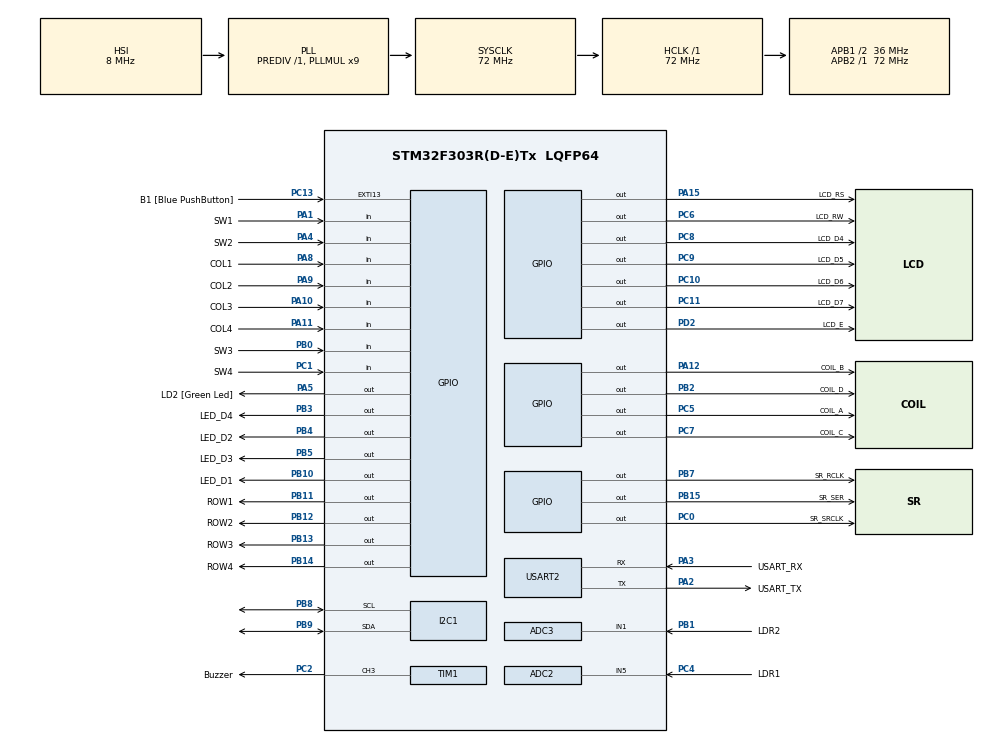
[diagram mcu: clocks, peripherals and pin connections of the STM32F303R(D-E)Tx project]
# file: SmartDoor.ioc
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ADC2.Channel-0\#ChannelRegularConversion=ADC_CHANNEL_5
ADC2.NbrOfConversionFlag=1
ADC2.Offset-0\#ChannelRegularConversion=0
ADC2.OffsetNumber-0\#ChannelRegularConversion=ADC_OFFSET_NONE
ADC2.Rank-0\#ChannelRegularConversion=1
ADC2.SamplingTime-0\#ChannelRegularConversion=ADC_SAMPLETIME_61CYCLES_5
ADC2.SamplingTimeOPAMP-0\#ChannelRegularConversion=ADC_SAMPLETIME_61CYCLES_5
ADC3.Channel-0\#ChannelRegularConversion=ADC_CHANNEL_1
ADC3.NbrOfConversionFlag=1
ADC3.Offset-0\#ChannelRegularConversion=0
ADC3.OffsetNumber-0\#ChannelRegularConversion=ADC_OFFSET_NONE
ADC3.Rank-0\#ChannelRegularConversion=1
ADC3.SamplingTime-0\#ChannelRegularConversion=ADC_SAMPLETIME_61CYCLES_5
ADC3.SamplingTimeOPAMP-0\#ChannelRegularConversion=ADC_SAMPLETIME_61CYCLES_5
ADC3.master=1
I2C1.Timing=0x00201D2B
Mcu.Family=STM32F3
Mcu.Name=STM32F303R(D-E)Tx
Mcu.Package=LQFP64
NVIC.PriorityGroup=NVIC_PRIORITYGROUP_0
NVIC.TIM2_IRQn=true\:0\:0\:false\:false\:true\:true\:true\:true
PA1.GPIO_Label=SW1
PA1.Signal=GPIO_Input
PA10.GPIO_Label=COL3
PA10.GPIO_PuPd=GPIO_PULLUP
PA10.Signal=GPIO_Input
PA11.GPIO_Label=COL4
PA11.GPIO_PuPd=GPIO_PULLUP
PA11.Signal=GPIO_Input
PA12.GPIO_Label=COIL_B
PA12.Signal=GPIO_Output
PA13.GPIO_Label=TMS
PA13.Mode=Serial_Wire
PA13.Signal=SYS_JTMS-SWDIO
PA14.GPIO_Label=TCK
PA14.Mode=Serial_Wire
PA14.Signal=SYS_JTCK-SWCLK
PA15.GPIO_Label=LCD_RS
PA15.Signal=GPIO_Output
PA2.GPIO_Label=USART_TX
PA2.GPIO_Mode=GPIO_MODE_AF_PP
PA2.GPIO_PuPd=GPIO_NOPULL
PA2.GPIO_Speed=GPIO_SPEED_FREQ_LOW
PA2.Mode=Asynchronous
PA2.Signal=USART2_TX
PA3.GPIO_Label=USART_RX
PA3.GPIO_Mode=GPIO_MODE_AF_PP
PA3.GPIO_PuPd=GPIO_NOPULL
PA3.GPIO_Speed=GPIO_SPEED_FREQ_LOW
PA3.Mode=Asynchronous
PA3.Signal=USART2_RX
PA4.GPIO_Label=SW2
PA4.Signal=GPIO_Input
PA5.GPIO_Label=LD2 [Green Led]
PA5.GPIO_Mode=GPIO_MODE_OUTPUT_PP
PA5.GPIO_PuPd=GPIO_NOPULL
PA5.GPIO_Speed=GPIO_SPEED_FREQ_LOW
PA5.Signal=GPIO_Output
PA8.GPIO_Label=COL1
PA8.GPIO_PuPd=GPIO_PULLUP
PA8.Signal=GPIO_Input
PA9.GPIO_Label=COL2
PA9.GPIO_PuPd=GPIO_PULLUP
PA9.Signal=GPIO_Input
PB0.GPIO_Label=SW3
PB0.Signal=GPIO_Input
PB1.GPIO_Label=LDR2
PB1.Mode=IN1-Single-Ended
PB1.Signal=ADC3_IN1
PB10.GPIO_Label=LED_D1
PB10.Signal=GPIO_Output
PB11.GPIO_Label=ROW1
PB11.Signal=GPIO_Output
PB12.GPIO_Label=ROW2
PB12.Signal=GPIO_Output
PB13.GPIO_Label=ROW3
PB13.Signal=GPIO_Output
PB14.GPIO_Label=ROW4
PB14.Signal=GPIO_Output
PB15.GPIO_Label=SR_SER
PB15.Signal=GPIO_Output
PB2.GPIO_Label=COIL_D
PB2.Signal=GPIO_Output
PB3.GPIO_Label=LED_D4
PB3.Signal=GPIO_Output
PB4.GPIO_Label=LED_D2
PB4.Signal=GPIO_Output
PB5.GPIO_Label=LED_D3
PB5.Signal=GPIO_Output
PB7.GPIO_Label=SR_RCLK
PB7.Signal=GPIO_Output
PB8.GPIO_Pu=GPIO_PULLUP
PB8.Mode=I2C
PB8.Signal=I2C1_SCL
PB9.GPIO_Pu=GPIO_PULLUP
PB9.Mode=I2C
PB9.Signal=I2C1_SDA
PC0.GPIO_Label=SR_SRCLK
PC0.Signal=GPIO_Output
PC1.GPIO_Label=SW4
PC1.Signal=GPIO_Input
PC10.GPIO_Label=LCD_D6
PC10.Signal=GPIO_Output
PC11.GPIO_Label=LCD_D7
PC11.Signal=GPIO_Output
PC13.GPIO_Label=B1 [Blue PushButton]
PC13.GPIO_ModeDefaultEXTI=GPIO_MODE_IT_FALLING
PC13.Signal=GPXTI13
PC14-OSC32_IN.Mode=LSE-External-Oscillator
PC14-OSC32_IN.Signal=RCC_OSC32_IN
PC15-OSC32_OUT.Mode=LSE-External-Oscillator
PC15-OSC32_OUT.Signal=RCC_OSC32_OUT
PC2.GPIO_Label=Buzzer
PC2.Signal=S_TIM1_CH3
PC4.GPIO_Label=LDR1
PC4.Mode=IN5-Single-Ended
PC4.Signal=ADC2_IN5
PC5.GPIO_Label=COIL_A
PC5.Signal=GPIO_Output
PC6.GPIO_Label=LCD_RW
PC6.Signal=GPIO_Output
PC7.GPIO_Label=COIL_C
PC7.Signal=GPIO_Output
PC8.GPIO_Label=LCD_D4
PC8.Signal=GPIO_Output
PC9.GPIO_Label=LCD_D5
PC9.Signal=GPIO_Output
PD2.GPIO_Label=LCD_E
PD2.Signal=GPIO_Output
PF0-OSC_IN.Mode=HSE-External-Clock-Source
PF0-OSC_IN.Signal=RCC_OSC_IN
PF1-OSC_OUT.Signal=RCC_OSC_OUT
ProjectManager.HeapSize=0x200
ProjectManager.StackSize=0x400
ProjectManager.TargetToolchain=STM32CubeIDE
RCC.AHBFreq_Value=72000000
RCC.APB1CLKDivider=RCC_HCLK_DIV2
RCC.APB1Freq_Value=36000000
RCC.APB1TimFreq_Value=72000000
RCC.APB2Freq_Value=72000000
RCC.APB2TimFreq_Value=72000000
RCC.CortexFreq_Value=72000000
RCC.HCLKFreq_Value=72000000
RCC.HSE_VALUE=8000000
RCC.HSI_VALUE=8000000
RCC.PLLM=8
RCC.PLLMUL=RCC_PLL_MUL9
RCC.PLLN=336
RCC.PLLP=RCC_PLLP_DIV4
RCC.PLLQ=7
RCC.RCC_PLLsource_Clock_Source_FROM_HSE=RCC_HSE_PREDIV_DIV2
RCC.SYSCLKFreq_VALUE=72000000
RCC.SYSCLKSourceVirtual=RCC_SYSCLKSOURCE_PLLCLK
RCC.USBFreq_Value=72000000
RTC.AsynchPrediv=125
RTC.SynchPrediv=304
SH.S_TIM1_CH3.0=TIM1_CH3,PWM Generation3 CH3
TIM1.Channel-PWM\ Generation3\ CH3=TIM_CHANNEL_3
TIM1.Period=399
TIM1.Prescaler=71
TIM2.Period=999
TIM2.Prescaler=71
USART2.VirtualMode-Asynchronous=VM_ASYNC
VP_RTC_VS_RTC_Activate.Mode=RTC_Enabled
VP_RTC_VS_RTC_Calendar.Mode=RTC_Calendar
VP_TIM1_VS_ClockSourceINT.Mode=Internal
VP_TIM2_VS_ClockSourceINT.Mode=Internal
board=NUCLEO-F303RE

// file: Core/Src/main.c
/* USER CODE BEGIN Header */
/**
  ******************************************************************************
  * @file           : main.c
  * @brief          : Main program body
  ******************************************************************************
  * @attention
  *
  * Copyright (c) 2026 STMicroelectronics.
  * All rights reserved.
  *
  * This software is licensed under terms that can be found in the LICENSE file
  * in the root directory of this software component.
  * If no LICENSE file comes with this software, it is provided AS-IS.
  *
  ******************************************************************************
  */
/* USER CODE END Header */
#include "main.h"

/* USER CODE BEGIN Includes */
#include <stdio.h>
#include <string.h>
#include "fsm.h"
#include "input.h"
#include "keypad.h"
#include "output.h"
#include "lcd.h"
#include "ldr.h"
#include "scheduler.h"

/* USER CODE END Includes */

/* USER CODE BEGIN PD */

#define PN532_I2C_ADDRESS (0x24 << 1)

#define PN532_PREAMBLE 0x00
#define PN532_STARTCODE1 0x00
#define PN532_STARTCODE2 0xFF
#define PN532_HOSTTOPN532 0xD4    // Host -> PN532 direction identifier
#define PN532_PN532TOHOST 0xD5    // PN532 -> Host orientation identifier

#define PN532_CMD_SAMCONFIG 0x14
#define PN532_CMD_INLISTPASSIVE 0x4A

#define PN532_READY 0x01

//  timeout and Retry parameters
#define PN532_I2C_TIMEOUT 100     // A single I2C transmission timeout
#define PN532_READY_RETRIES 30      // The max num of polling times for the ready state
#define PN532_READY_INTERVAL 10      // The interval between each polling

/* USER CODE END PD */

ADC_HandleTypeDef hadc2;
ADC_HandleTypeDef hadc3;

I2C_HandleTypeDef hi2c1;

RTC_HandleTypeDef hrtc;

TIM_HandleTypeDef htim1;
TIM_HandleTypeDef htim2;

UART_HandleTypeDef huart2;

void SystemClock_Config(void);
static void MX_GPIO_Init(void);
static void MX_USART2_UART_Init(void);
static void MX_ADC2_Init(void);
static void MX_ADC3_Init(void);
static void MX_I2C1_Init(void);
static void MX_TIM2_Init(void);
static void MX_RTC_Init(void);
static void MX_TIM1_Init(void);
/* USER CODE BEGIN PFP */

void     PN532_Wakeup(void);
uint8_t  PN532_SAMConfig(void);
int      PN532_Get_UID(uint8_t *uid, uint8_t *uidLen);

static uint8_t PN532_ComputeDataChecksum(const uint8_t *data, uint8_t len);
static HAL_StatusTypeDef PN532_SendCommand(const uint8_t *cmd, uint8_t cmdLen);
static HAL_StatusTypeDef PN532_WaitReady(uint32_t retries);
static HAL_StatusTypeDef PN532_ReadResponse(uint8_t *buf, uint16_t len);

/* USER CODE END PFP */

/* USER CODE BEGIN 0 */

#ifdef __GNUC__

// Redirect printf to USART2 for the ST-Link serial port.
int _write(int file, char *ptr, int len)
{
    // printf does not use file, but _write must keep this parameter.
    (void)file;
    HAL_UART_Transmit(&huart2, (uint8_t *)ptr, len, 0xFFFF);
    return len;
}
#endif

// Send the leading byte physically to wake up PN532
void PN532_Wakeup(void)
{
    uint8_t wake[] = { 0x55, 0x55, 0x00, 0x00, 0x00 };
    HAL_I2C_Master_Transmit(&hi2c1, PN532_I2C_ADDRESS, wake, sizeof(wake), PN532_I2C_TIMEOUT);
    HAL_Delay(10);
}

// Calculate DCS
static uint8_t PN532_ComputeDataChecksum(const uint8_t *data, uint8_t len)
{
    uint8_t sum = 0;
    for (uint8_t i = 0; i < len; i++)
    {
        sum = (uint8_t)(sum + data[i]);
    }
    return (uint8_t)(~sum + 1);
}

// Send an instruction in the PN532 ordinary information frame format
static HAL_StatusTypeDef PN532_SendCommand(const uint8_t *cmd, uint8_t cmdLen)
{
    uint8_t frame[32];
    uint8_t data[32];
    uint8_t len = (uint8_t)(cmdLen + 1);
    uint8_t idx = 0;

    if (cmdLen + 8 > (uint8_t)sizeof(frame))
    {
        return HAL_ERROR;
    }

    data[0] = PN532_HOSTTOPN532;
    memcpy(&data[1], cmd, cmdLen);

    frame[idx++] = PN532_PREAMBLE;
    frame[idx++] = PN532_STARTCODE1;
    frame[idx++] = PN532_STARTCODE2;
    frame[idx++] = len;
    frame[idx++] = (uint8_t)(~len + 1);

    memcpy(&frame[idx], data, len);
    idx = (uint8_t)(idx + len);

    frame[idx++] = PN532_ComputeDataChecksum(data, len);
    frame[idx++] = PN532_PREAMBLE;

    return HAL_I2C_Master_Transmit(&hi2c1, PN532_I2C_ADDRESS, frame, idx, PN532_I2C_TIMEOUT);
}

// Poll the ready status word of PN532
static HAL_StatusTypeDef PN532_WaitReady(uint32_t retries)
{
    uint8_t ready = 0;
    for (uint32_t i = 0; i < retries; i++)
    {
        if (HAL_I2C_Master_Receive(&hi2c1, PN532_I2C_ADDRESS, &ready, 1, PN532_I2C_TIMEOUT) == HAL_OK)
        {
            if (ready == PN532_READY)
            {
                return HAL_OK;
            }
        }
        HAL_Delay(PN532_READY_INTERVAL);
    }
    return HAL_TIMEOUT;
}

// Read response (including ready state)
static HAL_StatusTypeDef PN532_ReadResponse(uint8_t *buf, uint16_t len)
{
    return HAL_I2C_Master_Receive(&hi2c1, PN532_I2C_ADDRESS, buf, len, PN532_I2C_TIMEOUT);
}

// Configure the SAM of PN532 to the normal card reading mode
uint8_t PN532_SAMConfig(void)
{
    uint8_t cmd[] = { PN532_CMD_SAMCONFIG, 0x01, 0x14, 0x01 };
    uint8_t buf[16] = { 0 };

    if (PN532_SendCommand(cmd, sizeof(cmd)) != HAL_OK)
    {
        return 0;
    }

    if (PN532_WaitReady(PN532_READY_RETRIES) != HAL_OK)
    {
        return 0;
    }

    if (PN532_ReadResponse(buf, 7) != HAL_OK)
    {
        return 0;
    }

    if (PN532_WaitReady(PN532_READY_RETRIES) == HAL_OK)
    {
        PN532_ReadResponse(buf, 9);
    }

    return 1;
}

// Non-blocking card search to obtain the target UID
int PN532_Get_UID(uint8_t *uid, uint8_t *uidLen)
{
    uint8_t cmd[] = { PN532_CMD_INLISTPASSIVE, 0x01, 0x00 };
    uint8_t buf[32] = { 0 };
    uint8_t len;

    if (PN532_SendCommand(cmd, sizeof(cmd)) != HAL_OK)
    {
        return 0;
    }

    if (PN532_WaitReady(PN532_READY_RETRIES) != HAL_OK)
    {
        return 0;
    }
    PN532_ReadResponse(buf, 7);

    if (PN532_WaitReady(PN532_READY_RETRIES) != HAL_OK)
    {
        return 0;
    }

    if (PN532_ReadResponse(buf, sizeof(buf)) != HAL_OK)
    {
        return 0;
    }

    if (buf[0] != PN532_READY || buf[1] != 0x00 || buf[2] != 0x00 || buf[3] != 0xFF)
    {
        return 0;
    }

    if (buf[6] != PN532_PN532TOHOST || buf[7] != (PN532_CMD_INLISTPASSIVE + 1))
    {
        return 0;
    }

    if (buf[8] == 0)
    {
        return 0;
    }

    len = buf[13];
    if (len == 0 || len > 7)
    {
        return 0;
    }

    memcpy(uid, &buf[14], len);
    *uidLen = len;

    return 1;
}

/* USER CODE END 0 */

int main(void)
{

  /* MCU Configuration--------------------------------------------------------*/

  /* Reset of all peripherals, Initializes the Flash interface and the Systick. */
  HAL_Init();

  /* Configure the system clock */
  SystemClock_Config();

  /* Initialize all configured peripherals */
  MX_GPIO_Init();
  MX_USART2_UART_Init();
  MX_ADC2_Init();
  MX_ADC3_Init();
  MX_I2C1_Init();
  MX_TIM2_Init();
  MX_RTC_Init();
  MX_TIM1_Init();
  /* USER CODE BEGIN 2 */

  // Start the 1ms timer
  HAL_TIM_Base_Start_IT(&htim2);

  // Start the buzzer PWM channel
    HAL_TIM_PWM_Start(&htim1, TIM_CHANNEL_3);

  printf("\r\n=== Smart Door Init ===\r\n");

  /* Wake up and configure the PN532 module */
  PN532_Wakeup();
  if (PN532_SAMConfig()) {
      printf(" PN532 NFC Module Initialised Successfully.\r\n");
  } else {
      printf("WARN: PN532 Configuration Failed.\r\n");
  }

  LCD_Init();
  sensors_init();
  ldr_init();
  fsm_init();

  /* USER CODE END 2 */

  /* Infinite loop */
  /* USER CODE BEGIN WHILE */
  while (1)
  {
	  // Refresh the LDR state before timers make arbitration or closing decisions.
	  Event_t ldr_event = ldr_poll();

	  if (ldr_event != EVT_NONE) {
		  fsm_dispatch(ldr_event);
	  }

	  // Constantly refresh the non-blocking timers
	  fsm_poll();

	  // call FSM
	  /* Poll NFC only while waiting for a card. */
	  DoorState_t door_state = fsm_get_state();

	  /* Only ask the scheduler while the FSM is in a state that will act on it.
	   * or  ADMIN/PASSAGE/CLOSING won't handle the schedule event( start/end edge will be missed)
	   * START is only polled in IDLE,
	   * END only in UNLOCKED. */
	  if (door_state == IDLE) {
		  if (scheduler_check_start()) {
			  fsm_dispatch(EVT_SCHEDULE_START);
		  }
	  }
	  else if (door_state == UNLOCKED) {
		  if (scheduler_check_end()) {
			  fsm_dispatch(EVT_SCHEDULE_END);
		  }
	  }

	  // Keep the clock on the idle/unlocked screen up to date. Only redraw when the minute changes
	  static uint8_t last_shown_minute = 0xFF;
	  if (door_state == IDLE || door_state == UNLOCKED) {
		  uint8_t h, m;
		  scheduler_get_time(&h, &m);
		  if (m != last_shown_minute) {
			  char idle_line2[20];
			  if (door_state == IDLE) {
				  snprintf(idle_line2, sizeof(idle_line2), "Scan card  %02u:%02u", h, m);
				  lcd_print("Smart Door", idle_line2);
			  } else {
				  snprintf(idle_line2, sizeof(idle_line2), "Door open  %02u:%02u", h, m);
				  lcd_print("Event mode", idle_line2);
			  }
			  last_shown_minute = m;
		  }
	  } else {
		  // force a redraw when we come back to IDLE
		  last_shown_minute = 0xFF;
	  }

	  char key = keypad_poll();
	  if (key != 0) {
		  fsm_set_key(key);
		  fsm_dispatch(EVT_KEYPAD_KEY);
	  }

	  /* Even in the unlock state,
	   *  nfc poll should be conducted to handle the situation
	   *  where the administrator swipes the card for configuration
	   */
    DoorState_t nfc_state = fsm_get_state();

    if (nfc_state == IDLE || nfc_state == UNLOCKED || nfc_state == ALERT) {
    	CardType_t card = nfc_poll_card();
	    if (card != CARD_NONE) {
			  //First save the card type, then send the card-scanned event to the state machine.
			  fsm_set_card_type(card);
			  fsm_dispatch(EVT_CARD_SCANNED);
		  }
	  }

    /* USER CODE END WHILE */

  }
}

void SystemClock_Config(void)
{
  RCC_OscInitTypeDef RCC_OscInitStruct = {0};
  RCC_ClkInitTypeDef RCC_ClkInitStruct = {0};
  RCC_PeriphCLKInitTypeDef PeriphClkInit = {0};

  /** Initializes the RCC Oscillators according to the specified parameters
  * in the RCC_OscInitTypeDef structure.
  */
  RCC_OscInitStruct.OscillatorType = RCC_OSCILLATORTYPE_HSI|RCC_OSCILLATORTYPE_LSI;
  RCC_OscInitStruct.HSIState = RCC_HSI_ON;
  RCC_OscInitStruct.HSICalibrationValue = RCC_HSICALIBRATION_DEFAULT;
  RCC_OscInitStruct.LSIState = RCC_LSI_ON;
  RCC_OscInitStruct.PLL.PLLState = RCC_PLL_ON;
  RCC_OscInitStruct.PLL.PLLSource = RCC_PLLSOURCE_HSI;
  RCC_OscInitStruct.PLL.PLLMUL = RCC_PLL_MUL9;
  RCC_OscInitStruct.PLL.PREDIV = RCC_PREDIV_DIV1;
  if (HAL_RCC_OscConfig(&RCC_OscInitStruct) != HAL_OK)
  {
    Error_Handler();
  }

  /** Initializes the CPU, AHB and APB buses clocks
  */
  RCC_ClkInitStruct.ClockType = RCC_CLOCKTYPE_HCLK|RCC_CLOCKTYPE_SYSCLK
                              |RCC_CLOCKTYPE_PCLK1|RCC_CLOCKTYPE_PCLK2;
  RCC_ClkInitStruct.SYSCLKSource = RCC_SYSCLKSOURCE_PLLCLK;
  RCC_ClkInitStruct.AHBCLKDivider = RCC_SYSCLK_DIV1;
  RCC_ClkInitStruct.APB1CLKDivider = RCC_HCLK_DIV2;
  RCC_ClkInitStruct.APB2CLKDivider = RCC_HCLK_DIV1;

  if (HAL_RCC_ClockConfig(&RCC_ClkInitStruct, FLASH_LATENCY_2) != HAL_OK)
  {
    Error_Handler();
  }
  PeriphClkInit.PeriphClockSelection = RCC_PERIPHCLK_USART2|RCC_PERIPHCLK_I2C1
                              |RCC_PERIPHCLK_RTC|RCC_PERIPHCLK_TIM1
                              |RCC_PERIPHCLK_ADC12|RCC_PERIPHCLK_ADC34
                              |RCC_PERIPHCLK_TIM2;
  PeriphClkInit.Usart2ClockSelection = RCC_USART2CLKSOURCE_PCLK1;
  PeriphClkInit.Adc12ClockSelection = RCC_ADC12PLLCLK_DIV1;
  PeriphClkInit.Adc34ClockSelection = RCC_ADC34PLLCLK_DIV1;
  PeriphClkInit.I2c1ClockSelection = RCC_I2C1CLKSOURCE_HSI;
  PeriphClkInit.RTCClockSelection = RCC_RTCCLKSOURCE_LSI;
  PeriphClkInit.Tim1ClockSelection = RCC_TIM1CLK_HCLK;
  PeriphClkInit.Tim2ClockSelection = RCC_TIM2CLK_HCLK;
  if (HAL_RCCEx_PeriphCLKConfig(&PeriphClkInit) != HAL_OK)
  {
    Error_Handler();
  }
}

static void MX_ADC2_Init(void)
{

  ADC_ChannelConfTypeDef sConfig = {0};

  /** Common config
  */
  hadc2.Instance = ADC2;
  hadc2.Init.ClockPrescaler = ADC_CLOCK_ASYNC_DIV1;
  hadc2.Init.Resolution = ADC_RESOLUTION_12B;
  hadc2.Init.ScanConvMode = ADC_SCAN_DISABLE;
  hadc2.Init.ContinuousConvMode = DISABLE;
  hadc2.Init.DiscontinuousConvMode = DISABLE;
  hadc2.Init.ExternalTrigConvEdge = ADC_EXTERNALTRIGCONVEDGE_NONE;
  hadc2.Init.ExternalTrigConv = ADC_SOFTWARE_START;
  hadc2.Init.DataAlign = ADC_DATAALIGN_RIGHT;
  hadc2.Init.NbrOfConversion = 1;
  hadc2.Init.DMAContinuousRequests = DISABLE;
  hadc2.Init.EOCSelection = ADC_EOC_SINGLE_CONV;
  hadc2.Init.LowPowerAutoWait = DISABLE;
  hadc2.Init.Overrun = ADC_OVR_DATA_OVERWRITTEN;
  if (HAL_ADC_Init(&hadc2) != HAL_OK)
  {
    Error_Handler();
  }

  /** Configure Regular Channel
  */
  sConfig.Channel = ADC_CHANNEL_5;
  sConfig.Rank = ADC_REGULAR_RANK_1;
  sConfig.SingleDiff = ADC_SINGLE_ENDED;
  sConfig.SamplingTime = ADC_SAMPLETIME_61CYCLES_5;
  sConfig.OffsetNumber = ADC_OFFSET_NONE;
  sConfig.Offset = 0;
  if (HAL_ADC_ConfigChannel(&hadc2, &sConfig) != HAL_OK)
  {
    Error_Handler();
  }

}

static void MX_ADC3_Init(void)
{

  ADC_MultiModeTypeDef multimode = {0};
  ADC_ChannelConfTypeDef sConfig = {0};

  /** Common config
  */
  hadc3.Instance = ADC3;
  hadc3.Init.ClockPrescaler = ADC_CLOCK_ASYNC_DIV1;
  hadc3.Init.Resolution = ADC_RESOLUTION_12B;
  hadc3.Init.ScanConvMode = ADC_SCAN_DISABLE;
  hadc3.Init.ContinuousConvMode = DISABLE;
  hadc3.Init.DiscontinuousConvMode = DISABLE;
  hadc3.Init.ExternalTrigConvEdge = ADC_EXTERNALTRIGCONVEDGE_NONE;
  hadc3.Init.ExternalTrigConv = ADC_SOFTWARE_START;
  hadc3.Init.DataAlign = ADC_DATAALIGN_RIGHT;
  hadc3.Init.NbrOfConversion = 1;
  hadc3.Init.DMAContinuousRequests = DISABLE;
  hadc3.Init.EOCSelection = ADC_EOC_SINGLE_CONV;
  hadc3.Init.LowPowerAutoWait = DISABLE;
  hadc3.Init.Overrun = ADC_OVR_DATA_OVERWRITTEN;
  if (HAL_ADC_Init(&hadc3) != HAL_OK)
  {
    Error_Handler();
  }

  /** Configure the ADC multi-mode
  */
  multimode.Mode = ADC_MODE_INDEPENDENT;
  if (HAL_ADCEx_MultiModeConfigChannel(&hadc3, &multimode) != HAL_OK)
  {
    Error_Handler();
  }

  /** Configure Regular Channel
  */
  sConfig.Channel = ADC_CHANNEL_1;
  sConfig.Rank = ADC_REGULAR_RANK_1;
  sConfig.SingleDiff = ADC_SINGLE_ENDED;
  sConfig.SamplingTime = ADC_SAMPLETIME_61CYCLES_5;
  sConfig.OffsetNumber = ADC_OFFSET_NONE;
  sConfig.Offset = 0;
  if (HAL_ADC_ConfigChannel(&hadc3, &sConfig) != HAL_OK)
  {
    Error_Handler();
  }

}

static void MX_I2C1_Init(void)
{

  hi2c1.Instance = I2C1;
  hi2c1.Init.Timing = 0x00201D2B;
  hi2c1.Init.OwnAddress1 = 0;
  hi2c1.Init.AddressingMode = I2C_ADDRESSINGMODE_7BIT;
  hi2c1.Init.DualAddressMode = I2C_DUALADDRESS_DISABLE;
  hi2c1.Init.OwnAddress2 = 0;
  hi2c1.Init.OwnAddress2Masks = I2C_OA2_NOMASK;
  hi2c1.Init.GeneralCallMode = I2C_GENERALCALL_DISABLE;
  hi2c1.Init.NoStretchMode = I2C_NOSTRETCH_DISABLE;
  if (HAL_I2C_Init(&hi2c1) != HAL_OK)
  {
    Error_Handler();
  }

  /** Configure Analogue filter
  */
  if (HAL_I2CEx_ConfigAnalogFilter(&hi2c1, I2C_ANALOGFILTER_ENABLE) != HAL_OK)
  {
    Error_Handler();
  }

  /** Configure Digital filter
  */
  if (HAL_I2CEx_ConfigDigitalFilter(&hi2c1, 0) != HAL_OK)
  {
    Error_Handler();
  }

}

static void MX_RTC_Init(void)
{

  RTC_TimeTypeDef sTime = {0};
  RTC_DateTypeDef sDate = {0};

  /** Initialize RTC Only
  */
  hrtc.Instance = RTC;
  hrtc.Init.HourFormat = RTC_HOURFORMAT_24;
  hrtc.Init.AsynchPrediv = 125;
  hrtc.Init.SynchPrediv = 304;
  hrtc.Init.OutPut = RTC_OUTPUT_DISABLE;
  hrtc.Init.OutPutPolarity = RTC_OUTPUT_POLARITY_HIGH;
  hrtc.Init.OutPutType = RTC_OUTPUT_TYPE_OPENDRAIN;
  if (HAL_RTC_Init(&hrtc) != HAL_OK)
  {
    Error_Handler();
  }

  /** Initialize RTC and set the Time and Date
  */
  sTime.Hours = 0x0;
  sTime.Minutes = 0x0;
  sTime.Seconds = 0x0;
  sTime.DayLightSaving = RTC_DAYLIGHTSAVING_NONE;
  sTime.StoreOperation = RTC_STOREOPERATION_RESET;
  if (HAL_RTC_SetTime(&hrtc, &sTime, RTC_FORMAT_BCD) != HAL_OK)
  {
    Error_Handler();
  }
  sDate.WeekDay = RTC_WEEKDAY_MONDAY;
  sDate.Month = RTC_MONTH_JANUARY;
  sDate.Date = 0x1;
  sDate.Year = 0x0;

  if (HAL_RTC_SetDate(&hrtc, &sDate, RTC_FORMAT_BCD) != HAL_OK)
  {
    Error_Handler();
  }

}

static void MX_TIM1_Init(void)
{

  TIM_ClockConfigTypeDef sClockSourceConfig = {0};
  TIM_MasterConfigTypeDef sMasterConfig = {0};
  TIM_OC_InitTypeDef sConfigOC = {0};
  TIM_BreakDeadTimeConfigTypeDef sBreakDeadTimeConfig = {0};

  htim1.Instance = TIM1;
  htim1.Init.Prescaler = 71;
  htim1.Init.CounterMode = TIM_COUNTERMODE_UP;
  htim1.Init.Period = 399;
  htim1.Init.ClockDivision = TIM_CLOCKDIVISION_DIV1;
  htim1.Init.RepetitionCounter = 0;
  htim1.Init.AutoReloadPreload = TIM_AUTORELOAD_PRELOAD_DISABLE;
  if (HAL_TIM_Base_Init(&htim1) != HAL_OK)
  {
    Error_Handler();
  }
  sClockSourceConfig.ClockSource = TIM_CLOCKSOURCE_INTERNAL;
  if (HAL_TIM_ConfigClockSource(&htim1, &sClockSourceConfig) != HAL_OK)
  {
    Error_Handler();
  }
  if (HAL_TIM_PWM_Init(&htim1) != HAL_OK)
  {
    Error_Handler();
  }
  sMasterConfig.MasterOutputTrigger = TIM_TRGO_RESET;
  sMasterConfig.MasterOutputTrigger2 = TIM_TRGO2_RESET;
  sMasterConfig.MasterSlaveMode = TIM_MASTERSLAVEMODE_DISABLE;
  if (HAL_TIMEx_MasterConfigSynchronization(&htim1, &sMasterConfig) != HAL_OK)
  {
    Error_Handler();
  }
  sConfigOC.OCMode = TIM_OCMODE_PWM1;
  sConfigOC.Pulse = 0;
  sConfigOC.OCPolarity = TIM_OCPOLARITY_HIGH;
  sConfigOC.OCNPolarity = TIM_OCNPOLARITY_HIGH;
  sConfigOC.OCFastMode = TIM_OCFAST_DISABLE;
  sConfigOC.OCIdleState = TIM_OCIDLESTATE_RESET;
  sConfigOC.OCNIdleState = TIM_OCNIDLESTATE_RESET;
  if (HAL_TIM_PWM_ConfigChannel(&htim1, &sConfigOC, TIM_CHANNEL_3) != HAL_OK)
  {
    Error_Handler();
  }
  sBreakDeadTimeConfig.OffStateRunMode = TIM_OSSR_DISABLE;
  sBreakDeadTimeConfig.OffStateIDLEMode = TIM_OSSI_DISABLE;
  sBreakDeadTimeConfig.LockLevel = TIM_LOCKLEVEL_OFF;
  sBreakDeadTimeConfig.DeadTime = 0;
  sBreakDeadTimeConfig.BreakState = TIM_BREAK_DISABLE;
  sBreakDeadTimeConfig.BreakPolarity = TIM_BREAKPOLARITY_HIGH;
  sBreakDeadTimeConfig.BreakFilter = 0;
  sBreakDeadTimeConfig.Break2State = TIM_BREAK2_DISABLE;
  sBreakDeadTimeConfig.Break2Polarity = TIM_BREAK2POLARITY_HIGH;
  sBreakDeadTimeConfig.Break2Filter = 0;
  sBreakDeadTimeConfig.AutomaticOutput = TIM_AUTOMATICOUTPUT_DISABLE;
  if (HAL_TIMEx_ConfigBreakDeadTime(&htim1, &sBreakDeadTimeConfig) != HAL_OK)
  {
    Error_Handler();
  }
  HAL_TIM_MspPostInit(&htim1);

}

static void MX_TIM2_Init(void)
{

  TIM_ClockConfigTypeDef sClockSourceConfig = {0};
  TIM_MasterConfigTypeDef sMasterConfig = {0};

  htim2.Instance = TIM2;
  htim2.Init.Prescaler = 71;
  htim2.Init.CounterMode = TIM_COUNTERMODE_UP;
  htim2.Init.Period = 999;
  htim2.Init.ClockDivision = TIM_CLOCKDIVISION_DIV1;
  htim2.Init.AutoReloadPreload = TIM_AUTORELOAD_PRELOAD_DISABLE;
  if (HAL_TIM_Base_Init(&htim2) != HAL_OK)
  {
    Error_Handler();
  }
  sClockSourceConfig.ClockSource = TIM_CLOCKSOURCE_INTERNAL;
  if (HAL_TIM_ConfigClockSource(&htim2, &sClockSourceConfig) != HAL_OK)
  {
    Error_Handler();
  }
  sMasterConfig.MasterOutputTrigger = TIM_TRGO_RESET;
  sMasterConfig.MasterSlaveMode = TIM_MASTERSLAVEMODE_DISABLE;
  if (HAL_TIMEx_MasterConfigSynchronization(&htim2, &sMasterConfig) != HAL_OK)
  {
    Error_Handler();
  }

}

static void MX_USART2_UART_Init(void)
{

  huart2.Instance = USART2;
  huart2.Init.BaudRate = 38400;
  huart2.Init.WordLength = UART_WORDLENGTH_8B;
  huart2.Init.StopBits = UART_STOPBITS_1;
  huart2.Init.Parity = UART_PARITY_NONE;
  huart2.Init.Mode = UART_MODE_TX_RX;
  huart2.Init.HwFlowCtl = UART_HWCONTROL_NONE;
  huart2.Init.OverSampling = UART_OVERSAMPLING_16;
  huart2.Init.OneBitSampling = UART_ONE_BIT_SAMPLE_DISABLE;
  huart2.AdvancedInit.AdvFeatureInit = UART_ADVFEATURE_NO_INIT;
  if (HAL_UART_Init(&huart2) != HAL_OK)
  {
    Error_Handler();
  }

}

static void MX_GPIO_Init(void)
{
  GPIO_InitTypeDef GPIO_InitStruct = {0};

  /* GPIO Ports Clock Enable */
  __HAL_RCC_GPIOC_CLK_ENABLE();
  __HAL_RCC_GPIOF_CLK_ENABLE();
  __HAL_RCC_GPIOA_CLK_ENABLE();
  __HAL_RCC_GPIOB_CLK_ENABLE();
  __HAL_RCC_GPIOD_CLK_ENABLE();

  /*Configure GPIO pin Output Level */
  HAL_GPIO_WritePin(GPIOC, SR_SRCLK_Pin|COIL_A_Pin|LCD_RW_Pin|COIL_C_Pin
                          |LCD_D4_Pin|LCD_D5_Pin|LCD_D6_Pin|LCD_D7_Pin, GPIO_PIN_RESET);

  /*Configure GPIO pin Output Level */
  HAL_GPIO_WritePin(GPIOA, LD2_Pin|COIL_B_Pin|LCD_RS_Pin, GPIO_PIN_RESET);

  /*Configure GPIO pin Output Level */
  HAL_GPIO_WritePin(GPIOB, COIL_D_Pin|LED_D1_Pin|ROW1_Pin|ROW2_Pin
                          |ROW3_Pin|ROW4_Pin|SR_SER_Pin|LED_D4_Pin
                          |LED_D2_Pin|LED_D3_Pin|SR_RCLK_Pin, GPIO_PIN_RESET);

  /*Configure GPIO pin Output Level */
  HAL_GPIO_WritePin(LCD_E_GPIO_Port, LCD_E_Pin, GPIO_PIN_RESET);

  /*Configure GPIO pin : B1_Pin */
  GPIO_InitStruct.Pin = B1_Pin;
  GPIO_InitStruct.Mode = GPIO_MODE_IT_FALLING;
  GPIO_InitStruct.Pull = GPIO_NOPULL;
  HAL_GPIO_Init(B1_GPIO_Port, &GPIO_InitStruct);

  /*Configure GPIO pins : SR_SRCLK_Pin COIL_A_Pin LCD_RW_Pin COIL_C_Pin
                           LCD_D4_Pin LCD_D5_Pin LCD_D6_Pin LCD_D7_Pin */
  GPIO_InitStruct.Pin = SR_SRCLK_Pin|COIL_A_Pin|LCD_RW_Pin|COIL_C_Pin
                          |LCD_D4_Pin|LCD_D5_Pin|LCD_D6_Pin|LCD_D7_Pin;
  GPIO_InitStruct.Mode = GPIO_MODE_OUTPUT_PP;
  GPIO_InitStruct.Pull = GPIO_NOPULL;
  GPIO_InitStruct.Speed = GPIO_SPEED_FREQ_LOW;
  HAL_GPIO_Init(GPIOC, &GPIO_InitStruct);

  /*Configure GPIO pin : SW4_Pin */
  GPIO_InitStruct.Pin = SW4_Pin;
  GPIO_InitStruct.Mode = GPIO_MODE_INPUT;
  GPIO_InitStruct.Pull = GPIO_NOPULL;
  HAL_GPIO_Init(SW4_GPIO_Port, &GPIO_InitStruct);

  /*Configure GPIO pins : SW1_Pin SW2_Pin */
  GPIO_InitStruct.Pin = SW1_Pin|SW2_Pin;
  GPIO_InitStruct.Mode = GPIO_MODE_INPUT;
  GPIO_InitStruct.Pull = GPIO_NOPULL;
  HAL_GPIO_Init(GPIOA, &GPIO_InitStruct);

  /*Configure GPIO pins : LD2_Pin COIL_B_Pin LCD_RS_Pin */
  GPIO_InitStruct.Pin = LD2_Pin|COIL_B_Pin|LCD_RS_Pin;
  GPIO_InitStruct.Mode = GPIO_MODE_OUTPUT_PP;
  GPIO_InitStruct.Pull = GPIO_NOPULL;
  GPIO_InitStruct.Speed = GPIO_SPEED_FREQ_LOW;
  HAL_GPIO_Init(GPIOA, &GPIO_InitStruct);

  /*Configure GPIO pin : SW3_Pin */
  GPIO_InitStruct.Pin = SW3_Pin;
  GPIO_InitStruct.Mode = GPIO_MODE_INPUT;
  GPIO_InitStruct.Pull = GPIO_NOPULL;
  HAL_GPIO_Init(SW3_GPIO_Port, &GPIO_InitStruct);

  /*Configure GPIO pins : COIL_D_Pin LED_D1_Pin ROW1_Pin ROW2_Pin
                           ROW3_Pin ROW4_Pin SR_SER_Pin LED_D4_Pin
                           LED_D2_Pin LED_D3_Pin SR_RCLK_Pin */
  GPIO_InitStruct.Pin = COIL_D_Pin|LED_D1_Pin|ROW1_Pin|ROW2_Pin
                          |ROW3_Pin|ROW4_Pin|SR_SER_Pin|LED_D4_Pin
                          |LED_D2_Pin|LED_D3_Pin|SR_RCLK_Pin;
  GPIO_InitStruct.Mode = GPIO_MODE_OUTPUT_PP;
  GPIO_InitStruct.Pull = GPIO_NOPULL;
  GPIO_InitStruct.Speed = GPIO_SPEED_FREQ_LOW;
  HAL_GPIO_Init(GPIOB, &GPIO_InitStruct);

  /*Configure GPIO pins : COL1_Pin COL2_Pin COL3_Pin COL4_Pin */
  GPIO_InitStruct.Pin = COL1_Pin|COL2_Pin|COL3_Pin|COL4_Pin;
  GPIO_InitStruct.Mode = GPIO_MODE_INPUT;
  GPIO_InitStruct.Pull = GPIO_PULLUP;
  HAL_GPIO_Init(GPIOA, &GPIO_InitStruct);

  /*Configure GPIO pin : LCD_E_Pin */
  GPIO_InitStruct.Pin = LCD_E_Pin;
  GPIO_InitStruct.Mode = GPIO_MODE_OUTPUT_PP;
  GPIO_InitStruct.Pull = GPIO_NOPULL;
  GPIO_InitStruct.Speed = GPIO_SPEED_FREQ_LOW;
  HAL_GPIO_Init(LCD_E_GPIO_Port, &GPIO_InitStruct);

}

/* USER CODE BEGIN 4 */

// Period elapsed callback
void HAL_TIM_PeriodElapsedCallback(TIM_HandleTypeDef *htim)
{
  if (htim->Instance == TIM2)
  {
	  output_tick_1ms();
	  fsm_tick_1ms();
  }
}

/* USER CODE END 4 */

void Error_Handler(void)
{
  __disable_irq();
  while (1)
  {
  }
}
